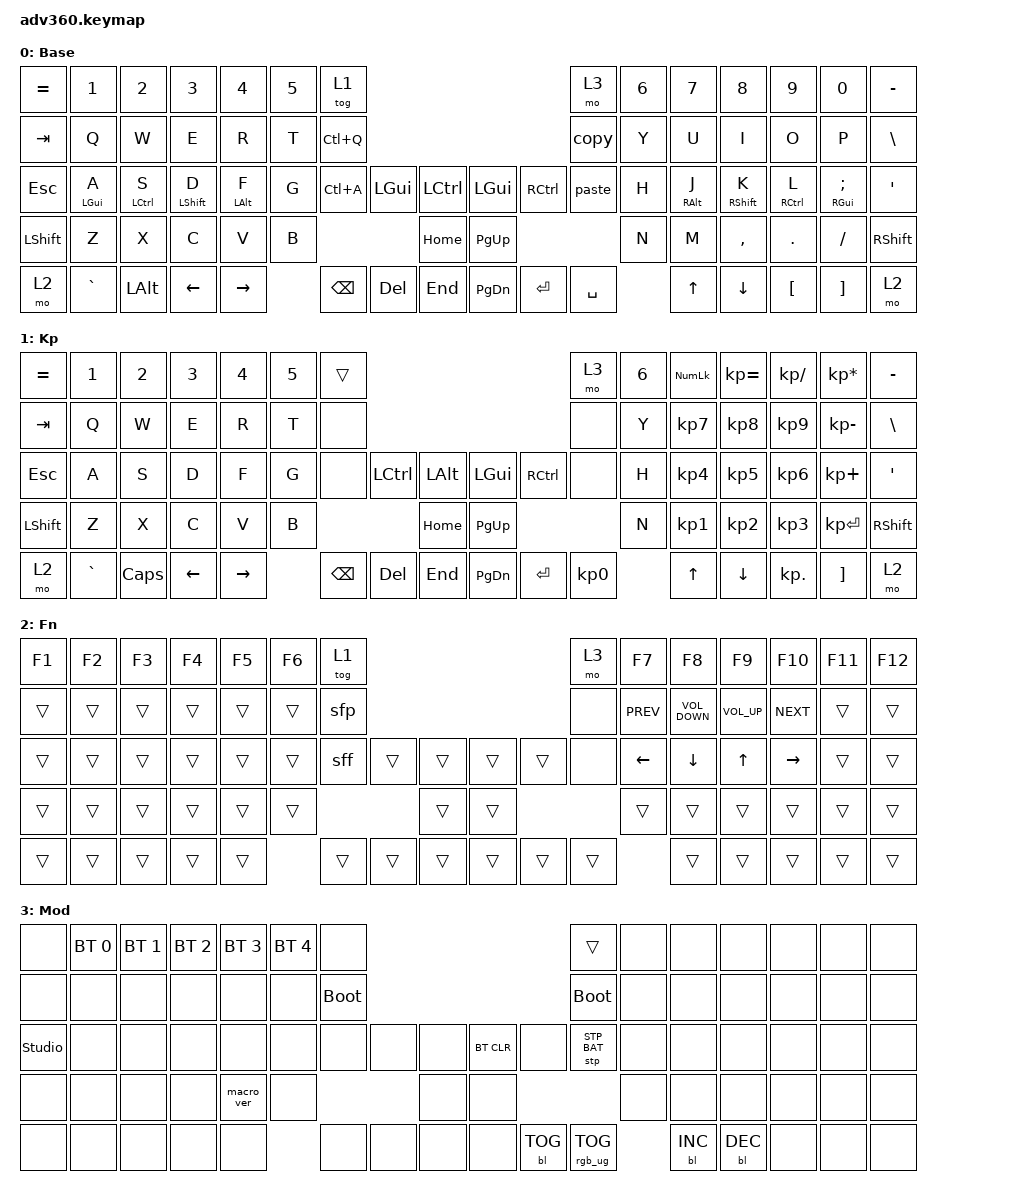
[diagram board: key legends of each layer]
#include <dt-bindings/zmk/stp.h>
#include <behaviors.dtsi>
#include <dt-bindings/zmk/backlight.h>
#include <dt-bindings/zmk/bt.h>
#include <dt-bindings/zmk/keys.h>
#include <dt-bindings/zmk/rgb.h>

/ {
    behaviors {
        #include "macros.dtsi"
      #include "version.dtsi"

        hm: homerow_mods {
            compatible = "zmk,behavior-hold-tap";
            label = "HOMEROW_MODS";
            #binding-cells = <2>;
            tapping-term-ms = <230>;
            quick-tap-ms = <175>;
            require-prior-idle-ms = <280>;
            flavor = "tap-preferred";
            bindings = <&kp>, <&kp>;
        };
    };

    macros {
        copy: copy {
            compatible = "zmk,behavior-macro";
            #binding-cells = <0>;
            bindings = <&kp LG(C)>;
            label = "COPY";
        };

        paste: paste {
            compatible = "zmk,behavior-macro";
            #binding-cells = <0>;
            bindings = <&kp LG(LS(V))>;
            label = "PASTE";
        };

        sff: sff {
            compatible = "zmk,behavior-macro";
            #binding-cells = <0>;
            bindings = <&kp SPACE &kp F &kp F>;
            label = "SFF";
        };

        sfp: sfp {
            compatible = "zmk,behavior-macro";
            #binding-cells = <0>;
            bindings = <&kp SPACE &kp F &kp P>;
            label = "SFP";
        };
    };

    keymap {
        compatible = "zmk,keymap";

        default_layer {
            display-name = "Base";
            bindings = <
&kp EQUAL  &kp N1      &kp N2       &kp N3       &kp N4      &kp N5  &tog 1                                                    &mo 3      &kp N6  &kp N7      &kp N8       &kp N9       &kp N0         &kp MINUS
&kp TAB    &kp Q       &kp W        &kp E        &kp R       &kp T   &kp LC(Q)                                                 &copy      &kp Y   &kp U       &kp I        &kp O        &kp P          &kp BSLH
&kp ESC    &hm LGUI A  &hm LCTRL S  &hm LSHFT D  &hm LALT F  &kp G   &kp LC(A)  &kp LGUI  &kp LCTRL      &kp LGUI   &kp RCTRL  &paste     &kp H   &hm RALT J  &hm RSHFT K  &hm RCTRL L  &hm RGUI SEMI  &kp SQT
&kp LSHFT  &kp Z       &kp X        &kp C        &kp V       &kp B                        &kp HOME       &kp PG_UP                        &kp N   &kp M       &kp COMMA    &kp DOT      &kp FSLH       &kp RSHFT
&mo 2      &kp GRAVE   &kp LALT     &kp LEFT     &kp RIGHT           &kp BSPC   &kp DEL   &kp END        &kp PG_DN  &kp ENTER  &kp SPACE          &kp UP      &kp DOWN     &kp LBKT     &kp RBKT       &mo 2
            >;
        };

        keypad {
            display-name = "Kp";
            bindings = <
&kp EQUAL  &kp N1     &kp N2    &kp N3    &kp N4     &kp N5  &trans                                                   &mo 3      &kp N6  &kp KP_NUM  &kp KP_EQUAL  &kp KP_DIVIDE  &kp KP_MULTIPLY  &kp MINUS
&kp TAB    &kp Q      &kp W     &kp E     &kp R      &kp T   &none                                                    &none      &kp Y   &kp KP_N7   &kp KP_N8     &kp KP_N9      &kp KP_MINUS     &kp BSLH
&kp ESC    &kp A      &kp S     &kp D     &kp F      &kp G   &none     &kp LCTRL  &kp LALT      &kp LGUI   &kp RCTRL  &none      &kp H   &kp KP_N4   &kp KP_N5     &kp KP_N6      &kp KP_PLUS      &kp SQT
&kp LSHFT  &kp Z      &kp X     &kp C     &kp V      &kp B                        &kp HOME      &kp PG_UP                        &kp N   &kp KP_N1   &kp KP_N2     &kp KP_N3      &kp KP_ENTER     &kp RSHFT
&mo 2      &kp GRAVE  &kp CAPS  &kp LEFT  &kp RIGHT          &kp BSPC  &kp DEL    &kp END       &kp PG_DN  &kp ENTER  &kp KP_N0          &kp UP      &kp DOWN      &kp KP_DOT     &kp RBKT         &mo 2
            >;
        };

        fn {
            display-name = "Fn";
            bindings = <
&kp F1  &kp F2  &kp F3  &kp F4  &kp F5  &kp F6  &tog 1                                      &mo 3   &kp F7          &kp F8             &kp F9        &kp F10     &kp F11  &kp F12
&trans  &trans  &trans  &trans  &trans  &trans  &sfp                                        &none   &kp C_PREV      &kp C_VOLUME_DOWN  &kp C_VOL_UP  &kp C_NEXT  &trans   &trans
&trans  &trans  &trans  &trans  &trans  &trans  &sff    &trans  &trans      &trans  &trans  &none   &kp LEFT_ARROW  &kp DOWN_ARROW     &kp UP_ARROW  &kp RIGHT   &trans   &trans
&trans  &trans  &trans  &trans  &trans  &trans                  &trans      &trans                  &trans          &trans             &trans        &trans      &trans   &trans
&trans  &trans  &trans  &trans  &trans          &trans  &trans  &trans      &trans  &trans  &trans                  &trans             &trans        &trans      &trans   &trans
            >;
        };

        mod {
            display-name = "Mod";
            bindings = <
&none           &bt BT_SEL 0  &bt BT_SEL 1  &bt BT_SEL 2  &bt BT_SEL 3  &bt BT_SEL 4  &none                                                  &trans           &none  &none       &none       &none  &none  &none
&none           &none         &none         &none         &none         &none         &bootloader                                            &bootloader      &none  &none       &none       &none  &none  &none
&studio_unlock  &none         &none         &none         &none         &none         &none        &none  &none      &bt BT_CLR  &none       &stp STP_BAT     &none  &none       &none       &none  &none  &none
&none           &none         &none         &none         &macro_ver    &none                             &none      &none                                    &none  &none       &none       &none  &none  &none
&none           &none         &none         &none         &none                       &none        &none  &none      &none       &bl BL_TOG  &rgb_ug RGB_TOG         &bl BL_INC  &bl BL_DEC  &none  &none  &none
            >;
        };

        extra1 {
            display-name = "Red";
            status = "reserved";
        };

        extra2 {
            display-name = "Purple";
            status = "reserved";
        };

        extra3 {
            display-name = "Cyan";
            status = "reserved";
        };

        extra4 {
            display-name = "Yellow";
            status = "reserved";
        };
    };
};
